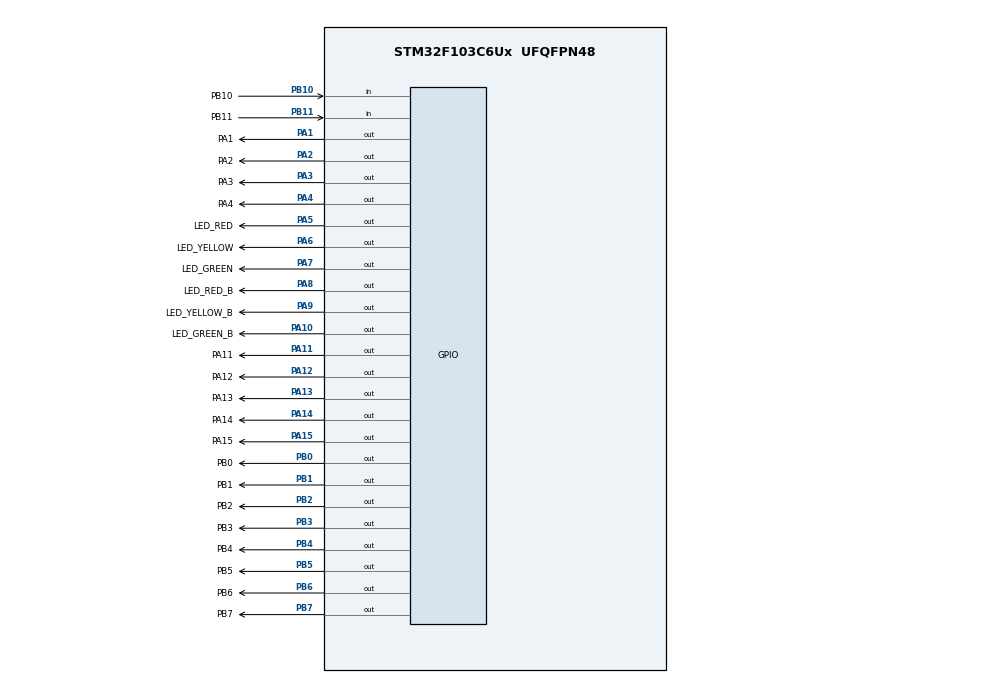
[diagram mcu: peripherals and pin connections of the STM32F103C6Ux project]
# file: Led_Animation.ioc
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Mcu.Family=STM32F1
Mcu.Name=STM32F103C6Ux
Mcu.Package=UFQFPN48
NVIC.PriorityGroup=NVIC_PRIORITYGROUP_4
NVIC.TIM2_IRQn=true\:0\:0\:false\:false\:true\:true\:true
PA1.GPIO_Label=PA1
PA1.Signal=GPIO_Output
PA10.GPIO_Label=LED_GREEN_B
PA10.Signal=GPIO_Output
PA11.GPIO_Label=PA11
PA11.Signal=GPIO_Output
PA12.GPIO_Label=PA12
PA12.Signal=GPIO_Output
PA13.GPIO_Label=PA13
PA13.Signal=GPIO_Output
PA14.GPIO_Label=PA14
PA14.Signal=GPIO_Output
PA15.GPIO_Label=PA15
PA15.Signal=GPIO_Output
PA2.GPIO_Label=PA2
PA2.Signal=GPIO_Output
PA3.GPIO_Label=PA3
PA3.Signal=GPIO_Output
PA4.GPIO_Label=PA4
PA4.Signal=GPIO_Output
PA5.GPIO_Label=LED_RED
PA5.Signal=GPIO_Output
PA6.GPIO_Label=LED_YELLOW
PA6.Signal=GPIO_Output
PA7.GPIO_Label=LED_GREEN
PA7.Signal=GPIO_Output
PA8.GPIO_Label=LED_RED_B
PA8.Signal=GPIO_Output
PA9.GPIO_Label=LED_YELLOW_B
PA9.Signal=GPIO_Output
PB0.GPIO_Label=PB0
PB0.Signal=GPIO_Output
PB1.GPIO_Label=PB1
PB1.Signal=GPIO_Output
PB10.GPIO_Label=PB10
PB10.Signal=GPIO_Input
PB11.GPIO_Label=PB11
PB11.Signal=GPIO_Input
PB2.GPIO_Label=PB2
PB2.Signal=GPIO_Output
PB3.GPIO_Label=PB3
PB3.Signal=GPIO_Output
PB4.GPIO_Label=PB4
PB4.Signal=GPIO_Output
PB5.GPIO_Label=PB5
PB5.Signal=GPIO_Output
PB6.GPIO_Label=PB6
PB6.Signal=GPIO_Output
PB7.GPIO_Label=PB7
PB7.Signal=GPIO_Output
ProjectManager.HeapSize=0x200
ProjectManager.StackSize=0x400
ProjectManager.TargetToolchain=STM32CubeIDE
RCC.APB1Freq_Value=8000000
RCC.APB2Freq_Value=8000000
TIM2.Period=9
TIM2.Prescaler=7999
VP_SYS_VS_ND.Mode=No_Debug
VP_TIM2_VS_ClockSourceINT.Mode=Internal
board=custom

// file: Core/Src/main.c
/* USER CODE BEGIN Header */
/**
  ******************************************************************************
  * @file           : main.c
  * @brief          : Main program body
  ******************************************************************************
  * @attention
  *
  * <h2><center>&copy; Copyright (c) 2024 STMicroelectronics.
  * All rights reserved.</center></h2>
  *
  * This software component is licensed by ST under BSD 3-Clause license,
  * the "License"; You may not use this file except in compliance with the
  * License. You may obtain a copy of the License at:
  *                        opensource.org/licenses/BSD-3-Clause
  *
  ******************************************************************************
  */
/* USER CODE END Header */
#include "main.h"

TIM_HandleTypeDef htim2;

void SystemClock_Config(void);
static void MX_GPIO_Init(void);
static void MX_TIM2_Init(void);
/* USER CODE BEGIN PFP */

typedef enum {false,true} bool;
void ToggleLED(void);
void SevenSegmentBCD(int number);
void REDYELLOWGREEN(void);

bool  isToggleLed = true ;

uint16_t timerCount = 5;
uint8_t state = 1;
int tempNum;

struct LED{
	GPIO_TypeDef *GPIOx;
	uint16_t GPIO_Pin;
};

struct LED Red = {LED_RED_GPIO_Port,LED_RED_Pin};
struct LED Yellow = {LED_YELLOW_GPIO_Port,LED_YELLOW_Pin};
struct LED Green = {LED_GREEN_GPIO_Port,LED_GREEN_Pin};
struct LED RedB = {LED_RED_B_GPIO_Port,LED_RED_B_Pin};
struct LED YellowB = {LED_YELLOW_B_GPIO_Port,LED_YELLOW_B_Pin};
struct LED GreenB = {LED_GREEN_B_GPIO_Port,LED_GREEN_B_Pin};

/* USER CODE END PFP */

void setNumberOnClock(int num){
 if(num < 0 ) num = 0;
 if(num > 11) num = 11;
 tempNum = num +4 ;
 HAL_GPIO_WritePin(GPIOA,(uint16_t) (1 << tempNum),GPIO_PIN_SET);

}
void clearNumberOnClock ( int num ){
  if(num < 0 ) num = 0;
    if(num > 11) num = 11;
    tempNum = num +4 ;
    HAL_GPIO_WritePin(GPIOA,(uint16_t) (1 <<
tempNum),GPIO_PIN_RESET);
 }
void clearAllClock ( void ) {
 HAL_GPIO_WritePin(GPIOA, GPIO_PIN_4|GPIO_PIN_5 |GPIO_PIN_6 |GPIO_PIN_7 | GPIO_PIN_8|
GPIO_PIN_9 |GPIO_PIN_10 |GPIO_PIN_11 |GPIO_PIN_12 |GPIO_PIN_13 |GPIO_PIN_14 |GPIO_PIN_15 ,
GPIO_PIN_SET);

}
void SevenSegmentBCD(int number){
  uint8_t bit_d = (number & 0x01)>>0;  // Extracting least significant bit (bit0)
     uint8_t bit_c = (number & 0x02)>>1 ;  // Extracting bit 1
     uint8_t bit_b = (number & 0x04) >>2;  // Extracting bit 2
     uint8_t bit_a = (number & 0x08) >>3;  // Extracting most significant bit(bit 3)

     uint8_t segment_a = (bit_a || bit_c || (!bit_b && !bit_d) | (bit_b &&
bit_d)) ? 1 : 0;
     uint8_t segment_b = (!bit_b || (bit_c && bit_d)|| (!bit_c && !bit_d)) ? 1
: 0 ;
     uint8_t segment_c = (bit_d || !bit_c || bit_b) ? 1 : 0;
     uint8_t segment_d = ((!bit_c && bit_b && bit_d) || (bit_c && !bit_d) ||
(!bit_b && !bit_d) || (!bit_b && bit_c) || bit_a) ? 1  : 0;
     uint8_t segment_e = ((!bit_b || bit_c) && !bit_d) ? 1 : 0 ;
     uint8_t segment_f = ((!bit_c && bit_b) || (!bit_c && !bit_d) || (bit_b &&
!bit_d) || bit_a) ? 1 : 0;
     uint8_t segment_g = (  bit_a ||  (bit_b && !bit_c) || (!bit_b && bit_c)||
(bit_c && !bit_d)) ? 1: 0;

 HAL_GPIO_WritePin(GPIOB, GPIO_PIN_0, !segment_a ? GPIO_PIN_RESET :
GPIO_PIN_SET);
 HAL_GPIO_WritePin(GPIOB, GPIO_PIN_1, !segment_b ? GPIO_PIN_RESET :
GPIO_PIN_SET); // Note the inversion with '!' removed
 HAL_GPIO_WritePin(GPIOB, GPIO_PIN_2, !segment_c ? GPIO_PIN_RESET :
GPIO_PIN_SET);
 HAL_GPIO_WritePin(GPIOB, GPIO_PIN_3, !segment_d ? GPIO_PIN_RESET :
 GPIO_PIN_SET);
  HAL_GPIO_WritePin(GPIOB, GPIO_PIN_4, !segment_e ? GPIO_PIN_RESET :
 GPIO_PIN_SET);
  HAL_GPIO_WritePin(GPIOB, GPIO_PIN_5, !segment_f ? GPIO_PIN_RESET :
 GPIO_PIN_SET);
  HAL_GPIO_WritePin(GPIOB, GPIO_PIN_6, !segment_g ? GPIO_PIN_RESET :
 GPIO_PIN_SET);

 }
 void AdjustLed(struct LED A, struct LED B, struct LED C, struct LED D, struct LED E,
 struct LED F) {
     if (state == 1) {
         if (timerCount <= 2) {
             // State 1, Timer count less than or equal to 2
             HAL_GPIO_WritePin(GPIOA, A.GPIO_Pin | E.GPIO_Pin, GPIO_PIN_RESET);
             HAL_GPIO_WritePin(GPIOA, B.GPIO_Pin | D.GPIO_Pin | F.GPIO_Pin |
 C.GPIO_Pin, GPIO_PIN_SET);

         } else if (timerCount <= 5) {
             // State 1, Timer count between 3 and 5
             // Red LED on, others off
             HAL_GPIO_WritePin(GPIOA, A.GPIO_Pin | F.GPIO_Pin, GPIO_PIN_RESET);
             HAL_GPIO_WritePin(GPIOA, B.GPIO_Pin | D.GPIO_Pin | E.GPIO_Pin |
 C.GPIO_Pin, GPIO_PIN_SET);
         }
     } else if (state == 2) {
         if (timerCount <= 2) {
             // State 2, Timer count less than or equal to 2
             HAL_GPIO_WritePin(GPIOA, D.GPIO_Pin | B.GPIO_Pin, GPIO_PIN_RESET);
             HAL_GPIO_WritePin(GPIOA, E.GPIO_Pin | A.GPIO_Pin | F.GPIO_Pin |
 C.GPIO_Pin, GPIO_PIN_SET);

         } else if (timerCount <= 5) {
             // State 2, Timer count between 3 and 5
             // Red LED on, others off
             HAL_GPIO_WritePin(GPIOA, D.GPIO_Pin | C.GPIO_Pin, GPIO_PIN_RESET);
             HAL_GPIO_WritePin(GPIOA, B.GPIO_Pin | A.GPIO_Pin | E.GPIO_Pin |
 F.GPIO_Pin, GPIO_PIN_SET);
         }
     }
 }
int main(void)
{

  /* MCU Configuration--------------------------------------------------------*/

  /* Reset of all peripherals, Initializes the Flash interface and the Systick. */
  HAL_Init();

  /* Configure the system clock */
  SystemClock_Config();

  /* Initialize all configured peripherals */
  MX_GPIO_Init();
  MX_TIM2_Init();
  /* USER CODE BEGIN 2 */
  HAL_TIM_Base_Start_IT(&htim2);
  /* USER CODE END 2 */

  uint16_t ledpin = 4;
  while (1)
  {
  HAL_GPIO_TogglePin(GPIOA,(uint16_t) (1 << ledpin));
  ledpin+= 1;
  if(ledpin >15) ledpin =4;
  HAL_Delay(1000);
  }

 /* while (1)
    {
     if(timerCount <= 0) {timerCount = 5;
        if(state ==1) state = 2;
        else if(state ==2) state = 1;
     }
     AdjustLed(Red, Yellow, Green, RedB, YellowB, GreenB);
      /* USER CODE END WHILE */

      /* USER CODE BEGIN 3 */
      SevenSegmentBCD(timerCount);

     timerCount--;
      HAL_Delay(1000);
    }*/
  /* USER CODE END 3 */
}

void SystemClock_Config(void)
{
  RCC_OscInitTypeDef RCC_OscInitStruct = {0};
  RCC_ClkInitTypeDef RCC_ClkInitStruct = {0};

  /** Initializes the RCC Oscillators according to the specified parameters
  * in the RCC_OscInitTypeDef structure.
  */
  RCC_OscInitStruct.OscillatorType = RCC_OSCILLATORTYPE_HSI;
  RCC_OscInitStruct.HSIState = RCC_HSI_ON;
  RCC_OscInitStruct.HSICalibrationValue = RCC_HSICALIBRATION_DEFAULT;
  RCC_OscInitStruct.PLL.PLLState = RCC_PLL_NONE;
  if (HAL_RCC_OscConfig(&RCC_OscInitStruct) != HAL_OK)
  {
    Error_Handler();
  }
  /** Initializes the CPU, AHB and APB buses clocks
  */
  RCC_ClkInitStruct.ClockType = RCC_CLOCKTYPE_HCLK|RCC_CLOCKTYPE_SYSCLK
                              |RCC_CLOCKTYPE_PCLK1|RCC_CLOCKTYPE_PCLK2;
  RCC_ClkInitStruct.SYSCLKSource = RCC_SYSCLKSOURCE_HSI;
  RCC_ClkInitStruct.AHBCLKDivider = RCC_SYSCLK_DIV1;
  RCC_ClkInitStruct.APB1CLKDivider = RCC_HCLK_DIV1;
  RCC_ClkInitStruct.APB2CLKDivider = RCC_HCLK_DIV1;

  if (HAL_RCC_ClockConfig(&RCC_ClkInitStruct, FLASH_LATENCY_0) != HAL_OK)
  {
    Error_Handler();
  }
}

static void MX_TIM2_Init(void)
{

  TIM_ClockConfigTypeDef sClockSourceConfig = {0};
  TIM_MasterConfigTypeDef sMasterConfig = {0};

  htim2.Instance = TIM2;
  htim2.Init.Prescaler = 7999;
  htim2.Init.CounterMode = TIM_COUNTERMODE_UP;
  htim2.Init.Period = 9;
  htim2.Init.ClockDivision = TIM_CLOCKDIVISION_DIV1;
  htim2.Init.AutoReloadPreload = TIM_AUTORELOAD_PRELOAD_DISABLE;
  if (HAL_TIM_Base_Init(&htim2) != HAL_OK)
  {
    Error_Handler();
  }
  sClockSourceConfig.ClockSource = TIM_CLOCKSOURCE_INTERNAL;
  if (HAL_TIM_ConfigClockSource(&htim2, &sClockSourceConfig) != HAL_OK)
  {
    Error_Handler();
  }
  sMasterConfig.MasterOutputTrigger = TIM_TRGO_RESET;
  sMasterConfig.MasterSlaveMode = TIM_MASTERSLAVEMODE_DISABLE;
  if (HAL_TIMEx_MasterConfigSynchronization(&htim2, &sMasterConfig) != HAL_OK)
  {
    Error_Handler();
  }

}

static void MX_GPIO_Init(void)
{
  GPIO_InitTypeDef GPIO_InitStruct = {0};

  /* GPIO Ports Clock Enable */
  __HAL_RCC_GPIOA_CLK_ENABLE();
  __HAL_RCC_GPIOB_CLK_ENABLE();

  /*Configure GPIO pin Output Level */
  HAL_GPIO_WritePin(GPIOA, PA1_Pin|PA2_Pin|PA3_Pin|PA4_Pin
                          |LED_RED_Pin|LED_YELLOW_Pin|LED_GREEN_Pin|LED_RED_B_Pin
                          |LED_YELLOW_B_Pin|LED_GREEN_B_Pin|PA11_Pin|PA12_Pin
                          |PA13_Pin|PA14_Pin|PA15_Pin, GPIO_PIN_RESET);

  /*Configure GPIO pin Output Level */
  HAL_GPIO_WritePin(GPIOB, PB0_Pin|PB1_Pin|PB2_Pin|PB3_Pin
                          |PB4_Pin|PB5_Pin|PB6_Pin|PB7_Pin, GPIO_PIN_RESET);

  /*Configure GPIO pins : PA1_Pin PA2_Pin PA3_Pin PA4_Pin
                           LED_RED_Pin LED_YELLOW_Pin LED_GREEN_Pin LED_RED_B_Pin
                           LED_YELLOW_B_Pin LED_GREEN_B_Pin PA11_Pin PA12_Pin
                           PA13_Pin PA14_Pin PA15_Pin */
  GPIO_InitStruct.Pin = PA1_Pin|PA2_Pin|PA3_Pin|PA4_Pin
                          |LED_RED_Pin|LED_YELLOW_Pin|LED_GREEN_Pin|LED_RED_B_Pin
                          |LED_YELLOW_B_Pin|LED_GREEN_B_Pin|PA11_Pin|PA12_Pin
                          |PA13_Pin|PA14_Pin|PA15_Pin;
  GPIO_InitStruct.Mode = GPIO_MODE_OUTPUT_PP;
  GPIO_InitStruct.Pull = GPIO_NOPULL;
  GPIO_InitStruct.Speed = GPIO_SPEED_FREQ_LOW;
  HAL_GPIO_Init(GPIOA, &GPIO_InitStruct);

  /*Configure GPIO pins : PB0_Pin PB1_Pin PB2_Pin PB3_Pin
                           PB4_Pin PB5_Pin PB6_Pin PB7_Pin */
  GPIO_InitStruct.Pin = PB0_Pin|PB1_Pin|PB2_Pin|PB3_Pin
                          |PB4_Pin|PB5_Pin|PB6_Pin|PB7_Pin;
  GPIO_InitStruct.Mode = GPIO_MODE_OUTPUT_PP;
  GPIO_InitStruct.Pull = GPIO_NOPULL;
  GPIO_InitStruct.Speed = GPIO_SPEED_FREQ_LOW;
  HAL_GPIO_Init(GPIOB, &GPIO_InitStruct);

  /*Configure GPIO pins : PB10_Pin PB11_Pin */
  GPIO_InitStruct.Pin = PB10_Pin|PB11_Pin;
  GPIO_InitStruct.Mode = GPIO_MODE_INPUT;
  GPIO_InitStruct.Pull = GPIO_NOPULL;
  HAL_GPIO_Init(GPIOB, &GPIO_InitStruct);

}

/* USER CODE BEGIN 4 */

/*void HAL_TIM_PeriodElapsedCallback ( TIM_HandleTypeDef * htim )
{
	counter--;
	if( counter <= 0) {

	flag = 1;
	HAL_GPIO_TogglePin ( LED_RED_GPIO_Port , LED_RED_Pin ) ;
	}
}*/
/* USER CODE END 4 */

void Error_Handler(void)
{
  __disable_irq();
  while (1)
  {
  }
}

/************************ (C) COPYRIGHT STMicroelectronics *****END OF FILE****/
